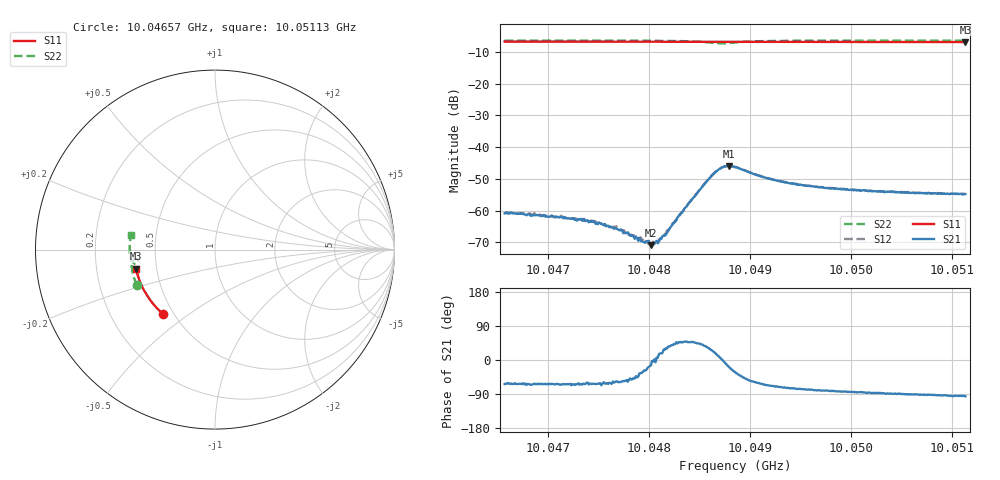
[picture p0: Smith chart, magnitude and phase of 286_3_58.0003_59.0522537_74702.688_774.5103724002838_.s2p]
#  HZ  S  RI  R  50.00
! Rohde & Schwarz Vector Network Analyzer
! Rohde-Schwarz,ZNB20-2Port,1311601062101988,3.16
! Created: UTC 3/21/2024, 1:03:06 AM
! freq[Hz]  re:S11  im:S11  re:S21  im:S21  re:S12  im:S12  re:S22  im:S22
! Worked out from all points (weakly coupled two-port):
!   401 points, 10.04657 GHz to 10.05113 GHz, reference 50 ohm
!   highest |S21| = -45.91 dB at 10.04879 GHz (marker M1); lowest = -71.0 dB at 10.04802 GHz (marker M2)
!   lowest |S11| = -6.9 dB at 10.05113 GHz (marker M3), VSWR 2.66, Z = 19.1 - j5.05 ohm
!   |S11| at or under -10 dB: nowhere
!   |S22| runs from -7.3 to -6.4 dB; largest |S21 - S12| = 0.00037
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1.0046571e10  -0.2898 -0.3585  0.000404 -0.000811  0.000496 -0.000777  -0.436 -0.1999
1.0046879e10  -0.3048 -0.345  0.000369 -0.000763  0.000452 -0.000753  -0.4437 -0.1807
1.0047335e10  -0.326 -0.3235  0.000316 -0.000675  0.00036 -0.000606  -0.4537 -0.1509
1.0047392e10  -0.3287 -0.3209  0.000359 -0.000612  0.00033 -0.000581  -0.4547 -0.1471
1.0047449e10  -0.3312 -0.3181  0.000306 -0.000594  0.000372 -0.000587  -0.4556 -0.1432
1.004754e10  -0.3353 -0.3135  0.000282 -0.00054  0.000327 -0.000517  -0.4573 -0.1371
1.0047677e10  -0.341 -0.3066  0.000293 -0.000439  0.000323 -0.000467  -0.4596 -0.1275
1.0047939e10  -0.352 -0.2931  0.000277 -0.000169  0.000307 -0.000163  -0.463 -0.1083
1.0048018e10  -0.3551 -0.289  0.000275 -6.92e-05  0.000327 -7.82e-05  -0.4636 -0.1021
1.0048052e10  -0.3565 -0.2871  0.0003 1.03e-05  0.000309 -2.09e-05  -0.4639 -0.0994
1.0048098e10  -0.3583 -0.2847  0.000316 9.07e-05  0.000321 8.79e-05  -0.464 -0.0956
1.0048121e10  -0.3594 -0.2836  0.000343 0.000105  0.000336 0.000152  -0.4641 -0.0938
1.0048178e10  -0.3616 -0.2806  0.000384 0.000226  0.0004 0.000281  -0.4642 -0.0891
1.0048371e10  -0.3689 -0.27  0.000776 0.000874  0.000728 0.000917  -0.4615 -0.071
1.0048622e10  -0.3778 -0.2562  0.00327 0.00151  0.00316 0.00173  -0.4389 -0.0519
1.0048713e10  -0.3808 -0.2512  0.0047 0.000275  0.00472 0.00054  -0.4273 -0.0607
1.0048793e10  -0.3835 -0.2471  0.00478 -0.00168  0.00491 -0.00134  -0.4298 -0.0739
1.004885e10  -0.3854 -0.2437  0.0041 -0.00259  0.0043 -0.00234  -0.4379 -0.0784
1.004918e10  -0.3964 -0.2251  0.00126 -0.00294  0.00145 -0.00288  -0.4676 -0.0563
1.0049613e10  -0.409 -0.1995  0.00049 -0.00237  0.000606 -0.00238  -0.4747 -0.0212
1.0050377e10  -0.4275 -0.1528  3.82e-05 -0.00197  0.000159 -0.002  -0.4745 0.0328
1.0051129e10  -0.4404 -0.1053  -0.000187 -0.00182  -4.38e-05 -0.00183  -0.4682 0.083
